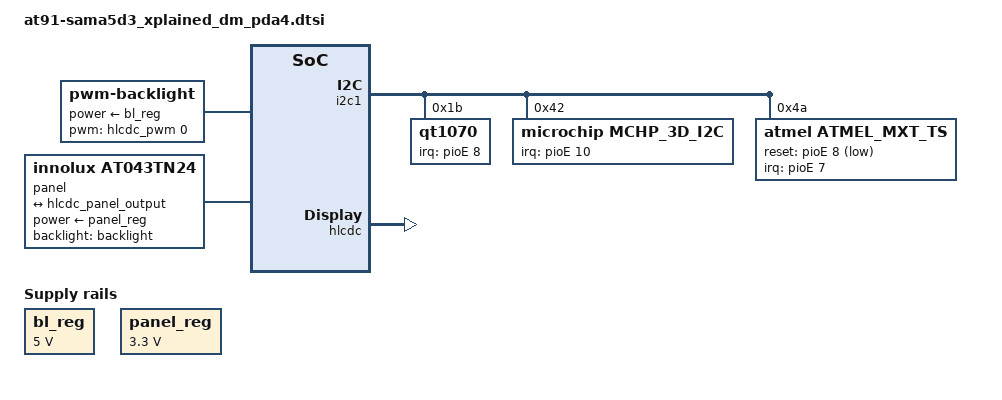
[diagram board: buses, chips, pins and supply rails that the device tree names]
/*
 * Device Tree Include file for PDA4 display module on SAMA5D3 Xplained board
 *
 *  Copyright (C) 2014 Atmel,
 *                2014 Ludovic Desroches <ludovic.desroches@atmel.com>
 *
 * This file is dual-licensed: you can use it either under the terms
 * of the GPL or the X11 license, at your option. Note that this dual
 * licensing only applies to this file, and not this project as a
 * whole.
 *
 *  a) This file is free software; you can redistribute it and/or
 *     modify it under the terms of the GNU General Public License as
 *     published by the Free Software Foundation; either version 2 of the
 *     License, or (at your option) any later version.
 *
 *     This file is distributed in the hope that it will be useful,
 *     but WITHOUT ANY WARRANTY; without even the implied warranty of
 *     MERCHANTABILITY or FITNESS FOR A PARTICULAR PURPOSE.  See the
 *     GNU General Public License for more details.
 *
 * Or, alternatively,
 *
 *  b) Permission is hereby granted, free of charge, to any person
 *     obtaining a copy of this software and associated documentation
 *     files (the "Software"), to deal in the Software without
 *     restriction, including without limitation the rights to use,
 *     copy, modify, merge, publish, distribute, sublicense, and/or
 *     sell copies of the Software, and to permit persons to whom the
 *     Software is furnished to do so, subject to the following
 *     conditions:
 *
 *     The above copyright notice and this permission notice shall be
 *     included in all copies or substantial portions of the Software.
 *
 *     THE SOFTWARE IS PROVIDED "AS IS", WITHOUT WARRANTY OF ANY KIND,
 *     EXPRESS OR IMPLIED, INCLUDING BUT NOT LIMITED TO THE WARRANTIES
 *     OF MERCHANTABILITY, FITNESS FOR A PARTICULAR PURPOSE AND
 *     NONINFRINGEMENT. IN NO EVENT SHALL THE AUTHORS OR COPYRIGHT
 *     HOLDERS BE LIABLE FOR ANY CLAIM, DAMAGES OR OTHER LIABILITY,
 *     WHETHER IN AN ACTION OF CONTRACT, TORT OR OTHERWISE, ARISING
 *     FROM, OUT OF OR IN CONNECTION WITH THE SOFTWARE OR THE USE OR
 *     OTHER DEALINGS IN THE SOFTWARE.
 */

/ {
	ahb {
		apb {
			i2c1: i2c@f0018000 {
			
				qt1070: keyboard@1b {
					compatible = "qt1070";
					reg = <0x1b>;
					interrupt-parent = <&pioE>;
					interrupts = <8 0x0>;
					pinctrl-names = "default";
					pinctrl-0 = <&pinctrl_qt1070_irq>;
					wakeup-source;
				};
				
				mchp_3d_i2c@42 {
					compatible = "microchip,mchp_3d_i2c";
					reg = <0x42>;
					interrupt-parent = <&pioE>;
					interrupts = <10 0x2>;	/* Falling Edge ?? */
					pinctrl-names = "default";
					pinctrl-0 = <&pinctrl_mgc31x0_irq>;
				};
			
				atmel_mxt_ts@4a {
					compatible = "atmel,atmel_mxt_ts";
					reg = <0x4a>;
					resync-enabled;
					reset-gpios = <&pioE 8 GPIO_ACTIVE_LOW>;
					interrupt-parent = <&pioE>;
					interrupts = <7 0x2>;	/* Falling edge only */
					pinctrl-names = "default";
					pinctrl-0 = <&pinctrl_mxt_irq &pinctrl_mxt_rst>;
				};

			};

			hlcdc: hlcdc@f0030000 {
				status = "okay";

				hlcdc-display-controller {
					pinctrl-names = "default";
					pinctrl-0 = <&pinctrl_lcd_base &pinctrl_lcd_rgb888_alt>;

					port@0 {
						hlcdc_panel_output: endpoint@0 {
							reg = <0>;
							remote-endpoint = <&panel_input>;
						};
					};
				};
			};

			pinctrl@fffff200 {
				board {

					pinctrl_mgc31x0_irq: mgc31x0_irq {
						atmel,pins =
							<AT91_PIOE 10 AT91_PERIPH_GPIO AT91_PINCTRL_PULL_UP_DEGLITCH>;
					};

					pinctrl_qt1070_irq: qt1070_irq {
						atmel,pins =
							<AT91_PIOE 8 AT91_PERIPH_GPIO AT91_PINCTRL_PULL_UP_DEGLITCH>;
					};

					pinctrl_mxt_irq: mxt_irq {
						atmel,pins =
							<AT91_PIOE 7 AT91_PERIPH_GPIO AT91_PINCTRL_PULL_UP_DEGLITCH>;
					};

					pinctrl_mxt_rst: mxt_rst {
						atmel,pins =
							<AT91_PIOE 6 AT91_PERIPH_GPIO AT91_PINCTRL_DEGLITCH>;
					};
				};
			};
		};
	};

	backlight: backlight {
		compatible = "pwm-backlight";
		pwms = <&hlcdc_pwm 0 50000 0>;
		brightness-levels = <0 4 8 16 32 64 128 255>;
		default-brightness-level = <7>;
		power-supply = <&bl_reg>;
		status = "okay";
	};

	bl_reg: backlight_regulator {
		compatible = "regulator-fixed";
		regulator-name = "backlight-power-supply";
		regulator-min-microvolt = <5000000>;
		regulator-max-microvolt = <5000000>;
		status = "okay";
	};

	panel: panel {
		compatible = "innolux,at043tn24", "simple-panel";
		backlight = <&backlight>;
		power-supply = <&panel_reg>;
		#address-cells = <1>;
		#size-cells = <0>;
		status = "okay";

		port@0 {
			reg = <0>;
			#address-cells = <1>;
			#size-cells = <0>;

			panel_input: endpoint@0 {
				reg = <0>;
				remote-endpoint = <&hlcdc_panel_output>;
			};
		};
	};

	panel_reg: panel_regulator {
		compatible = "regulator-fixed";
		regulator-name = "panel-power-supply";
		regulator-min-microvolt = <3300000>;
		regulator-max-microvolt = <3300000>;
		status = "okay";
	};
};
